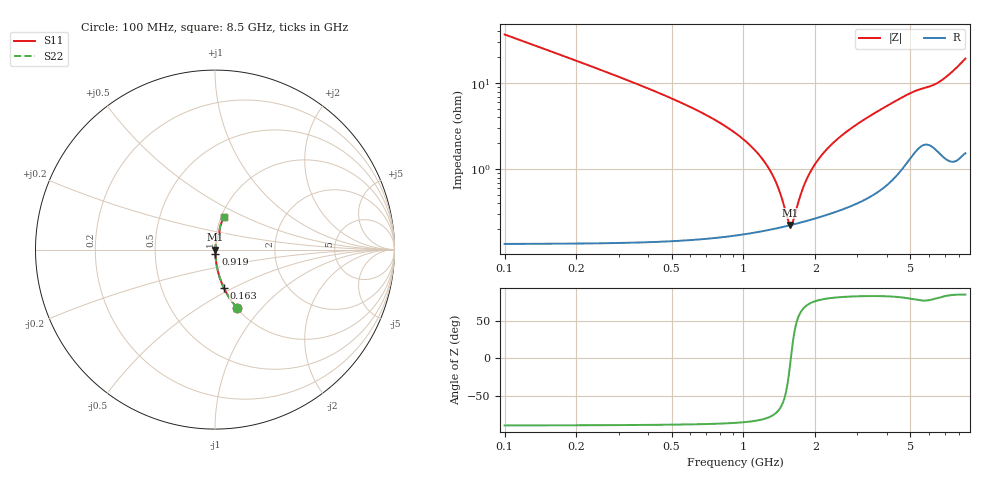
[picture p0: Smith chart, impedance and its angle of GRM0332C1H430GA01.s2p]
!Murata Part Number: GRM0332C1H430GA01
!These Parameters are Measured in Series Mode Connection
!Data Generated on Mar 30, 2021
!  o--ll--o
!Port1  Port2
!  o------o
!Operation Temp=25[degC], DC Bias Voltage=0[V]
!Freq. Start=100[MHz] Stop=9[GHz] 401[Steps]
# Hz S RI R 50
!Freq.(Hz) S11(Real) S11(Imag) S21(Real) S21(Imag) S12(Real) S12(Imag) S22(Real) S22(Imag)
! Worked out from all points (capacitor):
!   401 points, 100 MHz to 8.5 GHz, reference 50 ohm
!   read as one part in series: C = 43 pF near 142 MHz
!   lowest |Z| = 225 mohm at 1.57 GHz (marker M1)
!   series resonance near 1.579 GHz, so ESL is about 240 pH
!   S11 on the Smith chart (normalised r, x): 100 MHz: 1.00, -0.74; 163 MHz: 1.00, -0.45; 919 MHz: 1.00, -0.05; 8.5 GHz: 1.03, +0.39
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1e8  0.1205 -0.3238  0.8795 0.3238  0.8795 0.3238  0.1205 -0.3238
1.63e8  0.0492 -0.2133  0.9508 0.2133  0.9508 0.2133  0.0492 -0.2133
2.68e8  0.019 -0.1314  0.981 0.1314  0.981 0.1314  0.019 -0.1314
4.15e8  0.00824 -0.0822  0.9918 0.0822  0.9918 0.0822  0.00824 -0.0822
9.19e8  0.00239 -0.0265  0.9976 0.0265  0.9976 0.0265  0.00239 -0.0265
1.129e9  0.0021 -0.016  0.9979 0.016  0.9979 0.016  0.0021 -0.016
1.276e9  0.00206 -0.01  0.9979 0.01  0.9979 0.01  0.00206 -0.01
1.402e9  0.0021 -0.00558  0.9979 0.00558  0.9979 0.00558  0.0021 -0.00558
1.507e9  0.00217 -0.00219  0.9978 0.00219  0.9978 0.00219  0.00217 -0.00219
1.57e9  0.00223 -0.000274  0.9978 0.000274  0.9978 0.000274  0.00223 -0.000274
1.612e9  0.00227 0.000963  0.9977 -0.000963  0.9977 -0.000963  0.00227 0.000963
1.738e9  0.00242 0.0045  0.9976 -0.0045  0.9976 -0.0045  0.00242 0.0045
1.822e9  0.00253 0.00674  0.9975 -0.00674  0.9975 -0.00674  0.00253 0.00674
2.032e9  0.00285 0.012  0.9971 -0.012  0.9971 -0.012  0.00285 0.012
2.389e9  0.00353 0.0202  0.9965 -0.0202  0.9965 -0.0202  0.00353 0.0202
2.914e9  0.00484 0.0313  0.9952 -0.0313  0.9952 -0.0313  0.00484 0.0313
3.523e9  0.00697 0.0437  0.993 -0.0437  0.993 -0.0437  0.00697 0.0437
4.3e9  0.0115 0.0596  0.9885 -0.0596  0.9885 -0.0596  0.0115 0.0596
5.035e9  0.0191 0.0737  0.9809 -0.0737  0.9809 -0.0737  0.0191 0.0737
5.707e9  0.0257 0.0819  0.9743 -0.0819  0.9743 -0.0819  0.0257 0.0819
7.114e9  0.0263 0.1152  0.9737 -0.1152  0.9737 -0.1152  0.0263 0.1152
8.5e9  0.0494 0.1807  0.9506 -0.1807  0.9506 -0.1807  0.0494 0.1807
